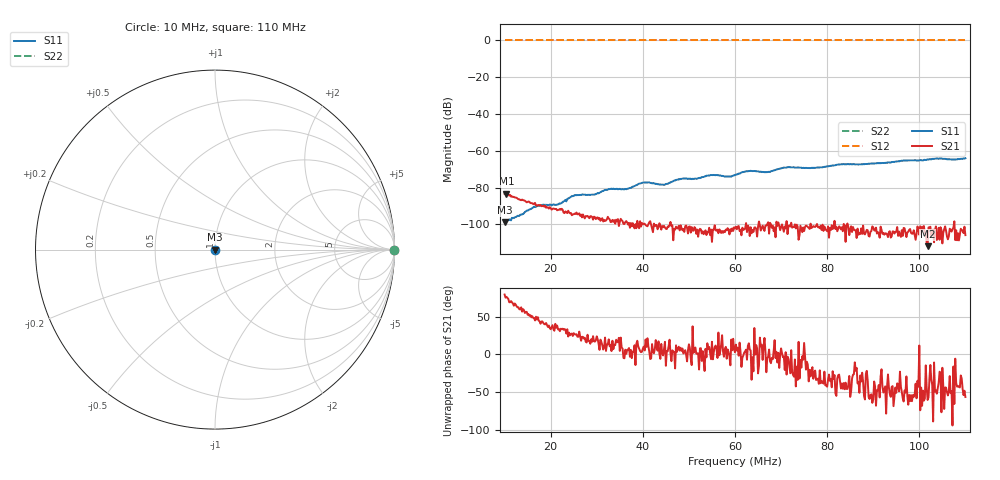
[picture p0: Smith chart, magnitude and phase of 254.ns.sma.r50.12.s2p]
! Anritsu VNA Master:  Model: MS2036C/10/77
! SN:  1601066
! /card0/usr/254.ns.sma.r50.12.s2p
! Existing Calibration Information:
! TYPE:  Current Settings,  Active Cal Settings
! TIME:  12/20/2017 01:32:48 PM,  12/20/2017 01:21:26 PM
! INTERNAL TEMP:  45.5 C,  44.5 C
! # POINTS:  501,  501
! START FREQ:  10.000 MHz,  10.000 MHz
! STOP FREQ:  110.000 MHz,  110.000 MHz
! SOURCE POWER:  High,  High
! IFBW:  100 Hz,  100 Hz
! AVG FACTOR:  1 ,  1
! REF PLANE 1:  0 mm,  0 mm
! REF PLANE 2:  0 mm,  0 mm
! CAL TYPE:  Full S11,  Full S11
! CAL METHOD:  SOLT,  SOLT
! CAL LINE TYPE:  Coax,  Coax
! DUT PORT 1:  N-Conn(F),  N-Conn(F)
! DUT PORT 2:  K-Conn(F),  K-Conn(F)
! CAL STATUS:  OK: Accuracy High,  --
# GHZ S DB R 50.0
! FREQ.GHZ  S11DB  S11A  S21DB  S21A  S12DB  S12A  S22DB  S22A
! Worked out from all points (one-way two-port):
!   501 points, 10 MHz to 110 MHz, reference 50 ohm
!   highest |S21| = -83.25 dB at 10.4 MHz (marker M1); lowest = -111.8 dB at 101.8 MHz (marker M2)
!   lowest |S11| = -98.8 dB at 10 MHz (marker M3), VSWR 1.00, Z = 50 - j0.000396 ohm
!   |S11| at or under -10 dB: start of sweep to end of sweep
!   |S22| runs from 0.0 to 0.0 dB; largest |S21 - S12| = 1
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0.01  -98.76 -20.1  -83.33 79.2  0.00 0.0  0.00 0.0
0.0104  -97.57 -18.7  -83.25 76.2  0.00 0.0  0.00 0.0
0.0268  -83.73 -30.6  -96.15 23.2  0.00 0.0  0.00 0.0
0.0372  -80.17 -41.4  -101.81 -3.2  0.00 0.0  0.00 0.0
0.0404  -77.23 -39.6  -99.63 5.0  0.00 0.0  0.00 0.0
0.0434  -78.12 -31.9  -101.44 17.1  0.00 0.0  0.00 0.0
0.045  -78.05 -44.1  -102.33 -15.2  0.00 0.0  0.00 0.0
0.0482  -75.23 -46.8  -100.47 8.7  0.00 0.0  0.00 0.0
0.0514  -75.04 -47.6  -102.10 8.9  0.00 0.0  0.00 0.0
0.0546  -73.24 -48.8  -105.81 1.7  0.00 0.0  0.00 0.0
0.0588  -73.89 -50.6  -105.41 -3.0  0.00 0.0  0.00 0.0
0.06  -73.18 -58.5  -102.15 2.7  0.00 0.0  0.00 0.0
0.0626  -71.04 -57.2  -104.14 -7.2  0.00 0.0  0.00 0.0
0.0672  -71.42 -57.1  -98.80 -2.9  0.00 0.0  0.00 0.0
0.0714  -68.94 -60.3  -105.24 -3.1  0.00 0.0  0.00 0.0
0.0768  -69.25 -60.1  -101.46 -17.1  0.00 0.0  0.00 0.0
0.0832  -67.32 -68.4  -101.52 -38.6  0.00 0.0  0.00 0.0
0.0934  -66.31 -75.7  -104.13 -44.0  0.00 0.0  0.00 0.0
0.1018  -64.65 -78.3  -111.80 -60.6  0.00 0.0  0.00 0.0
0.1044  -64.16 -76.2  -108.29 -23.1  0.00 0.0  0.00 0.0
0.1076  -64.79 -77.9  -98.30 -65.9  0.00 0.0  0.00 0.0
0.11  -64.02 -80.9  -105.80 -56.6  0.00 0.0  0.00 0.0
